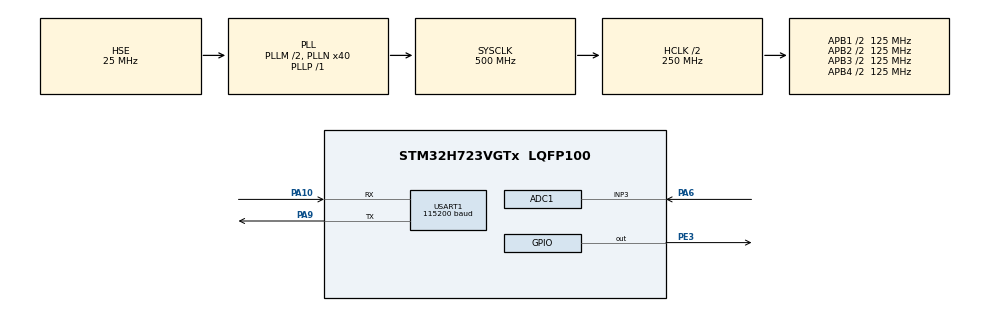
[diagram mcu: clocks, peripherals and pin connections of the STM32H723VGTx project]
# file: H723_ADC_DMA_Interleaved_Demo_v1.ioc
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ADC1.Channel-0\#ChannelRegularConversion=ADC_CHANNEL_3
ADC1.ClockPrescaler=ADC_CLOCK_ASYNC_DIV2
ADC1.ContinuousConvMode=DISABLE
ADC1.ConversionDataManagement=ADC_CONVERSIONDATA_DMA_CIRCULAR
ADC1.DMAAccessModeView=ENABLE
ADC1.ExternalTrigConv=ADC_EXTERNALTRIG_T6_TRGO
ADC1.ExternalTrigConvEdge=ADC_EXTERNALTRIGCONVEDGE_FALLING
ADC1.Mode=ADC_DUALMODE_INTERL
ADC1.NbrOfConversionFlag=1
ADC1.OffsetNumber-0\#ChannelRegularConversion=ADC_OFFSET_NONE
ADC1.OffsetSignedSaturation-0\#ChannelRegularConversion=DISABLE
ADC1.Rank-0\#ChannelRegularConversion=1
ADC1.SamplingTime-0\#ChannelRegularConversion=ADC_SAMPLETIME_2CYCLES_5
ADC1.TwoSamplingDelay=ADC_TWOSAMPLINGDELAY_2CYCLES
ADC1.master=1
ADC2.Channel-0\#ChannelRegularConversion=ADC_CHANNEL_3
ADC2.ClockPrescaler=ADC_CLOCK_ASYNC_DIV2
ADC2.DMAAccessModeView=ENABLE
ADC2.Mode=ADC_DUALMODE_INTERL
ADC2.NbrOfConversionFlag=1
ADC2.OffsetNumber-0\#ChannelRegularConversion=ADC_OFFSET_NONE
ADC2.OffsetSignedSaturation-0\#ChannelRegularConversion=DISABLE
ADC2.Rank-0\#ChannelRegularConversion=1
ADC2.SamplingTime-0\#ChannelRegularConversion=ADC_SAMPLETIME_1CYCLE_5
ADC2.TwoSamplingDelay=ADC_TWOSAMPLINGDELAY_2CYCLES
CORTEX_M7.CPU_DCache=Disabled
CORTEX_M7.CPU_ICache=Enabled
Dma.ADC1.0.Direction=DMA_PERIPH_TO_MEMORY
Dma.ADC1.0.EventEnable=DISABLE
Dma.ADC1.0.FIFOMode=DMA_FIFOMODE_DISABLE
Dma.ADC1.0.Instance=DMA1_Stream0
Dma.ADC1.0.MemDataAlignment=DMA_MDATAALIGN_WORD
Dma.ADC1.0.MemInc=DMA_MINC_ENABLE
Dma.ADC1.0.Mode=DMA_CIRCULAR
Dma.ADC1.0.PeriphDataAlignment=DMA_PDATAALIGN_WORD
Dma.ADC1.0.PeriphInc=DMA_PINC_DISABLE
Dma.ADC1.0.Polarity=HAL_DMAMUX_REQ_GEN_RISING
Dma.ADC1.0.Priority=DMA_PRIORITY_HIGH
Dma.ADC1.0.RequestNumber=1
Dma.ADC1.0.SignalID=NONE
Dma.ADC1.0.SyncEnable=DISABLE
Dma.ADC1.0.SyncPolarity=HAL_DMAMUX_SYNC_NO_EVENT
Dma.ADC1.0.SyncRequestNumber=1
Dma.ADC1.0.SyncSignalID=NONE
Dma.Request0=ADC1
Mcu.Family=STM32H7
Mcu.Name=STM32H723VGTx
Mcu.Package=LQFP100
NVIC.DMA1_Stream0_IRQn=true\:0\:0\:false\:false\:true\:false\:true\:true
NVIC.PriorityGroup=NVIC_PRIORITYGROUP_4
PA10.Mode=Asynchronous
PA10.Signal=USART1_RX
PA6.Signal=ADCx_INP3
PA9.Mode=Asynchronous
PA9.Signal=USART1_TX
PE3.GPIO_Speed=GPIO_SPEED_FREQ_HIGH
PE3.PinState=GPIO_PIN_RESET
PE3.Signal=GPIO_Output
PH0-OSC_IN.Mode=HSE-External-Oscillator
PH0-OSC_IN.Signal=RCC_OSC_IN
PH1-OSC_OUT.Mode=HSE-External-Oscillator
PH1-OSC_OUT.Signal=RCC_OSC_OUT
ProjectManager.HeapSize=0x200
ProjectManager.StackSize=0x400
ProjectManager.TargetToolchain=STM32CubeIDE
RCC.ADCCLockSelection=RCC_ADCCLKSOURCE_PLL3
RCC.ADCFreq_Value=38062667.84667969
RCC.APB1Freq_Value=125000000
RCC.APB2Freq_Value=125000000
RCC.APB3Freq_Value=125000000
RCC.APB4Freq_Value=125000000
RCC.CECCLockSelection=RCC_CECCLKSOURCE_LSI
RCC.CKPERSourceSelection=RCC_CLKPSOURCE_HSI
RCC.CSI_VALUE=4000000
RCC.CortexFreq_Value=500000000
RCC.Cortex_Div=SYSTICK_CLKSOURCE_HCLK
RCC.Cortex_DivARG=SystemCoreClock/1000
RCC.D1CPRE=RCC_SYSCLK_DIV1
RCC.D1PPRE=RCC_APB3_DIV2
RCC.D2PPRE1=RCC_APB1_DIV2
RCC.D2PPRE2=RCC_APB2_DIV2
RCC.D3PPRE=RCC_APB4_DIV2
RCC.DFSDMCLockSelection=RCC_DFSDM1CLKSOURCE_D2PCLK1
RCC.DIVM1=2
RCC.DIVM2=8
RCC.DIVM3=2
RCC.DIVN1=40
RCC.DIVN2=129
RCC.DIVN3=24
RCC.DIVP1=1
RCC.DIVP2=2
RCC.DIVP3=2
RCC.DIVQ1=2
RCC.DIVQ2=16
RCC.DIVR1=2
RCC.DIVR2=2
RCC.DIVR3=8
RCC.EXTERNAL_CLOCK_VALUE=12288000
RCC.EnbaleCSS=false
RCC.FDCANCLockSelection=RCC_FDCANCLKSOURCE_PLL
RCC.FMCCLockSelection=RCC_FMCCLKSOURCE_D1HCLK
RCC.HCLKFreq_Value=250000000
RCC.HPRE=RCC_HCLK_DIV2
RCC.HSE_VALUE=25000000
RCC.HSI48_VALUE=48000000
RCC.HSIDiv=RCC_PLLSAIDIVR_1
RCC.HSI_VALUE=64000000
RCC.I2C123CLockSelection=RCC_I2C1235CLKSOURCE_D2PCLK1
RCC.I2C4CLockSelection=RCC_I2C4CLKSOURCE_D3PCLK1
RCC.LPTIM1CLockSelection=RCC_LPTIM1CLKSOURCE_D2PCLK1
RCC.LPTIM2CLockSelection=RCC_LPTIM2CLKSOURCE_D3PCLK1
RCC.LPTIM345CLockSelection=RCC_LPTIM345CLKSOURCE_D3PCLK1
RCC.LPUART1CLockSelection=RCC_LPUART1CLKSOURCE_D3PCLK1
RCC.LSE_VALUE=32768
RCC.PLL2FRACN=0
RCC.PLL3FRACN=2950
RCC.PLL3_VCO_SEL-AdvancedSettings=RCC_PLL3VCOWIDE
RCC.PLLFRACN=0
RCC.PLLSourceVirtual=RCC_PLLSOURCE_HSE
RCC.QSPICLockSelection=RCC_OSPICLKSOURCE_D1HCLK
RCC.RCC_MCO1Source=RCC_MCO1SOURCE_HSI
RCC.RCC_MCO2Source=RCC_MCO2SOURCE_SYSCLK
RCC.RCC_MCODiv1=RCC_MCODIV_1
RCC.RCC_MCODiv2=RCC_MCODIV_1
RCC.RCC_RTC_Clock_Source_FROM_HSE=RCC_RTCCLKSOURCE_HSE_DIV2
RCC.RNGCLockSelection=RCC_RNGCLKSOURCE_HSI48
RCC.RTCEnable-ClockTree=true
RCC.SAI1CLockSelection=RCC_SAI1CLKSOURCE_PLL
RCC.SAI4ACLockSelection=RCC_SAI4ACLKSOURCE_PLL
RCC.SAI4BCLockSelection=RCC_SAI4BCLKSOURCE_PLL
RCC.SPDIFCLockSelection=RCC_SPDIFRXCLKSOURCE_PLL
RCC.SPI123CLockSelection=RCC_SPI123CLKSOURCE_PLL
RCC.SPI6CLockSelection=RCC_SPI6CLKSOURCE_D3PCLK1
RCC.SWPCLockSelection=RCC_SWPMI1CLKSOURCE_D2PCLK1
RCC.SYSCLKFreq_VALUE=500000000
RCC.SYSCLKSource=RCC_SYSCLKSOURCE_PLLCLK
RCC.Spi45ClockSelection=RCC_SPI45CLKSOURCE_D2PCLK1
RCC.USART16CLockSelection=RCC_USART16910CLKSOURCE_PLL2
RCC.USART234578CLockSelection=RCC_USART234578CLKSOURCE_D2PCLK1
RCC.USBCLockSelection=RCC_USBCLKSOURCE_PLL
RCC.USBFreq_Value=250000000
SH.ADCx_INP3.0=ADC1_INP3,IN3-Single-Ended
SH.ADCx_INP3.1=ADC2_INP3,IN3-Single-Ended
TIM6.AutoReloadPreload=TIM_AUTORELOAD_PRELOAD_ENABLE
TIM6.Period=250
TIM6.Prescaler=0
TIM6.TIM_MasterOutputTrigger=TIM_TRGO_UPDATE
USART1.BaudRate=115200
USART1.ClockPrescaler=PRESCALER_DIV4
USART1.VirtualMode-Asynchronous=VM_ASYNC
VP_TIM6_VS_ClockSourceINT.Mode=Enable_Timer
board=custom

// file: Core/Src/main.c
/* USER CODE BEGIN Header */
/**
  ******************************************************************************
  * @file           : main.c
  * @brief          : Main program body
  ******************************************************************************
  * @attention
  *
  * Copyright (c) 2023 STMicroelectronics.
  * All rights reserved.
  *
  * This software is licensed under terms that can be found in the LICENSE file
  * in the root directory of this software component.
  * If no LICENSE file comes with this software, it is provided AS-IS.
  *
  ******************************************************************************
  *
  *
  * STM32H723 ADC Interleaved DMA Demo v1.0
  *
  * This code uses ADC 1 and 2 in interleaved mode, focusing on the fast ADC channels for optimal performance.
  * The STM32H723 microcontroller features both fast and slow ADC channels. In this example, we use the fast channels
  * for better performance.
  *
  * We will use the following modules and pins:
  * - ADC1: pin ADC1_INP3 PA6
  * - ADC2: pin ADC2_INP3 PA6
  * - TIM6
  * - DMA
  * - UART1: pins PA9 and PA10
  *
  * According to Table 12 in the reference manual, "Maximum ADC frequency versus package type (VREF=VDDA=3 V, T=25°C)":
  * - In this case, with an LQFP100 package, 16-bit resolution, and two ADCs, the maximum recommended frequency is 19 MHz.
  * - The ADC clock is set to 38 MHz via the PLL, with an ADC prescaler of 2, resulting in the ADC running at 19 MHz.
  *
  * Note: I've tested ADC at higher clocks and seems pretty stable, so maybe there is lots of headroom.
  *
  *
  * The fast channels for STM32H723 ADC12 (ADC12 = ADC1 + ADC2) are:
  * - ADC12_INP0 PC2_C
  * - ADC12_INP1 PC3_C
  * - ADC12_INP3 PA6
  * - ADC12_INP4 PC4
  * - ADC12_INP5 PB1
  *
  * There are more options possible, for more detailed information on channel coupling and connectivity, please refer to the STM32H723 reference manual.
  * RM0433 Page 920
  * Figure 162 illustrates the connectivity of ADC1 and ADC2.
  *
  * Note: Other H7 microcontrollers may have different channel configurations, and there are slow channels that support
  * interleaved mode as well.
  *
  *
  * Timer 6 triggers the ADC conversions, running at 1 MHz:
  * - AHB4 peripheral = 250 MHz
  * - Prescaler = 0
  * - Counter Period = 250
  * - Calculation: 250,000,000 Hz / 250 = 1,000,000 Hz
  *
  * According to the STM32H723 documentation, H7 ADC conversion time is calculated differently:
  * - tconversion = tsampling + N/2 + 0.5
  * - tsampling = 2.5 (sampling time in cycles)
  * - ADC bits = 16-bit
  * - Calculation: 2.5 + 16/2 + 0.5 = 11 clock cycles
  * - but we use interleaved, with 2.5 delay between second sampling, so we get final 13.5 as final
  *
  * With an 18MHz ADC clock and a conversion time of 13.5, the maximum dual interleaved sampling rate is approximately 1.33 MSPS.
  * We trigger the ADC conversion with timer 6, which runs at 1 MHz. The ADC samples at rate of 1.33 MHz to ensure it's ready when the next timer trigger occurs.
  *
  * You can find the maximum sampling speed in application note AN5354, section 4.2 Dual ADC operation.
  */

/* USER CODE END Header */
#include "main.h"

/* USER CODE BEGIN Includes */
#include "stdint.h"
#include <stdio.h>
/* USER CODE END Includes */

ADC_HandleTypeDef hadc1;
ADC_HandleTypeDef hadc2;
DMA_HandleTypeDef hdma_adc1;

TIM_HandleTypeDef htim6;

UART_HandleTypeDef huart1;

void SystemClock_Config(void);
void PeriphCommonClock_Config(void);
static void MX_GPIO_Init(void);
static void MX_DMA_Init(void);
static void MX_USART1_UART_Init(void);
static void MX_ADC1_Init(void);
static void MX_TIM6_Init(void);
static void MX_ADC2_Init(void);
/* USER CODE BEGIN PFP */
#define PUTCHAR_PROTOTYPE int __io_putchar(int ch)
/* USER CODE END PFP */

/* USER CODE BEGIN 0 */
#define buffer_size 64			// Number of ADC samples
uint32_t ADC_buf[buffer_size]; 	// ADC result buffer
/* USER CODE END 0 */

int main(void)
{

  /* Enable the CPU Cache */

  /* Enable I-Cache---------------------------------------------------------*/
  SCB_EnableICache();

  /* MCU Configuration--------------------------------------------------------*/

  /* Reset of all peripherals, Initializes the Flash interface and the Systick. */
  HAL_Init();

  /* Configure the system clock */
  SystemClock_Config();

/* Configure the peripherals common clocks */
  PeriphCommonClock_Config();

  /* Initialize all configured peripherals */
  MX_GPIO_Init();
  MX_DMA_Init();
  MX_USART1_UART_Init();
  MX_ADC1_Init();
  MX_TIM6_Init();
  MX_ADC2_Init();
  /* USER CODE BEGIN 2 */

  printf("STM32H723 ADC interleaved DMA Demo v1.0 \n");

  // The STM32H7 embeds a linearity calibration engine to enhance the ADC linearity. It allows compensation of
  // capacitance mismatch during production.

  // Calibrate ADC1 with linearity offset in single-ended mode
  if (HAL_ADCEx_Calibration_Start(&hadc1, ADC_CALIB_OFFSET_LINEARITY, ADC_SINGLE_ENDED) != HAL_OK) {
      Error_Handler(); // Handle calibration error for ADC1
  }

  // Calibrate ADC2 with linearity offset in single-ended mode
  if (HAL_ADCEx_Calibration_Start(&hadc2, ADC_CALIB_OFFSET_LINEARITY, ADC_SINGLE_ENDED) != HAL_OK) {
      Error_Handler(); // Handle calibration error for ADC2
  }

  // Start the multi-mode ADC DMA transfer for ADC1
  if (HAL_ADCEx_MultiModeStart_DMA(&hadc1, (uint32_t *)&ADC_buf, buffer_size) != HAL_OK) {
      printf("ADC MM DMA Error \n"); // Print error message for ADC multi-mode DMA start failure
      Error_Handler(); // Handle DMA start error for multi-mode ADC
  }

  // Start the base timer that triggers the ADC conversions
  if (HAL_TIM_Base_Start(&htim6) != HAL_OK) {
      Error_Handler(); // Handle timer start error
  }

  /* USER CODE END 2 */

  /* Infinite loop */
  /* USER CODE BEGIN WHILE */
  while (1) {

	// Wait for the DMA transfer to complete
	// Note: This can be replaced with a flag system to prevent blocking the main loop.
	// For simplicity, a busy-wait loop is used here for demonstration purposes.
	while(HAL_DMA_GetState(&hdma_adc1) != (HAL_DMA_StateTypeDef)HAL_DMA_STATE_READY) {
		__NOP(); // No Operation: wait here
	}

	// Print the results that are stored in the 32-bit DMA buffer, ADC_buf.
	// The interleaved values are arranged such that each 32-bit variable holds two ADC results,
	// with the lower 16 bits containing the first ADC result and the upper 16 bits containing the second ADC result.
	for(int i = 0; i < buffer_size; i++) {
		if(i % 8 == 0) {
			printf("\n"); // New line for every 8 values for better readability
		}
		printf("%05i ", (uint16_t)ADC_buf[i]);        	// Print 16bit ADC result 1
		printf("%05i ", (uint16_t)(ADC_buf[i] >> 16)); 	// Print 16bit ADC result 2
	}
	printf("\n");

	// Restart the DMA multi-mode transfer for the next set of readings
	if(HAL_ADCEx_MultiModeStart_DMA(&hadc1, (uint32_t *)&ADC_buf, buffer_size) != HAL_OK) {
		printf("ADC MM DMA Error \n"); // Print error message for ADC multi-mode DMA start failure
		Error_Handler(); // Handle DMA start error for multi-mode ADC
	}

	// Toggle the LED to indicate the code is running. And some delay.
	HAL_GPIO_TogglePin(GPIOE, GPIO_PIN_3); 	// Toggle LED connected to GPIO pin
	HAL_Delay(1000); 						// Delay for 1000 ms (1 second)

    /* USER CODE END WHILE */

  }
}

void SystemClock_Config(void)
{
  RCC_OscInitTypeDef RCC_OscInitStruct = {0};
  RCC_ClkInitTypeDef RCC_ClkInitStruct = {0};

  /** Supply configuration update enable
  */
  HAL_PWREx_ConfigSupply(PWR_LDO_SUPPLY);

  /** Configure the main internal regulator output voltage
  */
  __HAL_PWR_VOLTAGESCALING_CONFIG(PWR_REGULATOR_VOLTAGE_SCALE0);

  while(!__HAL_PWR_GET_FLAG(PWR_FLAG_VOSRDY)) {}

  /** Initializes the RCC Oscillators according to the specified parameters
  * in the RCC_OscInitTypeDef structure.
  */
  RCC_OscInitStruct.OscillatorType = RCC_OSCILLATORTYPE_HSE;
  RCC_OscInitStruct.HSEState = RCC_HSE_ON;
  RCC_OscInitStruct.PLL.PLLState = RCC_PLL_ON;
  RCC_OscInitStruct.PLL.PLLSource = RCC_PLLSOURCE_HSE;
  RCC_OscInitStruct.PLL.PLLM = 2;
  RCC_OscInitStruct.PLL.PLLN = 40;
  RCC_OscInitStruct.PLL.PLLP = 1;
  RCC_OscInitStruct.PLL.PLLQ = 2;
  RCC_OscInitStruct.PLL.PLLR = 2;
  RCC_OscInitStruct.PLL.PLLRGE = RCC_PLL1VCIRANGE_3;
  RCC_OscInitStruct.PLL.PLLVCOSEL = RCC_PLL1VCOWIDE;
  RCC_OscInitStruct.PLL.PLLFRACN = 0;
  if (HAL_RCC_OscConfig(&RCC_OscInitStruct) != HAL_OK)
  {
    Error_Handler();
  }

  /** Initializes the CPU, AHB and APB buses clocks
  */
  RCC_ClkInitStruct.ClockType = RCC_CLOCKTYPE_HCLK|RCC_CLOCKTYPE_SYSCLK
                              |RCC_CLOCKTYPE_PCLK1|RCC_CLOCKTYPE_PCLK2
                              |RCC_CLOCKTYPE_D3PCLK1|RCC_CLOCKTYPE_D1PCLK1;
  RCC_ClkInitStruct.SYSCLKSource = RCC_SYSCLKSOURCE_PLLCLK;
  RCC_ClkInitStruct.SYSCLKDivider = RCC_SYSCLK_DIV1;
  RCC_ClkInitStruct.AHBCLKDivider = RCC_HCLK_DIV2;
  RCC_ClkInitStruct.APB3CLKDivider = RCC_APB3_DIV2;
  RCC_ClkInitStruct.APB1CLKDivider = RCC_APB1_DIV2;
  RCC_ClkInitStruct.APB2CLKDivider = RCC_APB2_DIV2;
  RCC_ClkInitStruct.APB4CLKDivider = RCC_APB4_DIV2;

  if (HAL_RCC_ClockConfig(&RCC_ClkInitStruct, FLASH_LATENCY_3) != HAL_OK)
  {
    Error_Handler();
  }
}

void PeriphCommonClock_Config(void)
{
  RCC_PeriphCLKInitTypeDef PeriphClkInitStruct = {0};

  /** Initializes the peripherals clock
  */
  PeriphClkInitStruct.PeriphClockSelection = RCC_PERIPHCLK_ADC;
  PeriphClkInitStruct.PLL3.PLL3M = 2;
  PeriphClkInitStruct.PLL3.PLL3N = 24;
  PeriphClkInitStruct.PLL3.PLL3P = 2;
  PeriphClkInitStruct.PLL3.PLL3Q = 2;
  PeriphClkInitStruct.PLL3.PLL3R = 8;
  PeriphClkInitStruct.PLL3.PLL3RGE = RCC_PLL3VCIRANGE_3;
  PeriphClkInitStruct.PLL3.PLL3VCOSEL = RCC_PLL3VCOWIDE;
  PeriphClkInitStruct.PLL3.PLL3FRACN = 2950;
  PeriphClkInitStruct.AdcClockSelection = RCC_ADCCLKSOURCE_PLL3;
  if (HAL_RCCEx_PeriphCLKConfig(&PeriphClkInitStruct) != HAL_OK)
  {
    Error_Handler();
  }
}

static void MX_ADC1_Init(void)
{

  ADC_MultiModeTypeDef multimode = {0};
  ADC_ChannelConfTypeDef sConfig = {0};

  /** Common config
  */
  hadc1.Instance = ADC1;
  hadc1.Init.ClockPrescaler = ADC_CLOCK_ASYNC_DIV2;
  hadc1.Init.Resolution = ADC_RESOLUTION_16B;
  hadc1.Init.ScanConvMode = ADC_SCAN_DISABLE;
  hadc1.Init.EOCSelection = ADC_EOC_SINGLE_CONV;
  hadc1.Init.LowPowerAutoWait = DISABLE;
  hadc1.Init.ContinuousConvMode = DISABLE;
  hadc1.Init.NbrOfConversion = 1;
  hadc1.Init.DiscontinuousConvMode = DISABLE;
  hadc1.Init.ExternalTrigConv = ADC_EXTERNALTRIG_T6_TRGO;
  hadc1.Init.ExternalTrigConvEdge = ADC_EXTERNALTRIGCONVEDGE_FALLING;
  hadc1.Init.ConversionDataManagement = ADC_CONVERSIONDATA_DMA_CIRCULAR;
  hadc1.Init.Overrun = ADC_OVR_DATA_PRESERVED;
  hadc1.Init.LeftBitShift = ADC_LEFTBITSHIFT_NONE;
  hadc1.Init.OversamplingMode = DISABLE;
  if (HAL_ADC_Init(&hadc1) != HAL_OK)
  {
    Error_Handler();
  }

  /** Configure the ADC multi-mode
  */
  multimode.Mode = ADC_DUALMODE_INTERL;
  multimode.DualModeData = ADC_DUALMODEDATAFORMAT_32_10_BITS;
  multimode.TwoSamplingDelay = ADC_TWOSAMPLINGDELAY_2CYCLES;
  if (HAL_ADCEx_MultiModeConfigChannel(&hadc1, &multimode) != HAL_OK)
  {
    Error_Handler();
  }

  /** Configure Regular Channel
  */
  sConfig.Channel = ADC_CHANNEL_3;
  sConfig.Rank = ADC_REGULAR_RANK_1;
  sConfig.SamplingTime = ADC_SAMPLETIME_2CYCLES_5;
  sConfig.SingleDiff = ADC_SINGLE_ENDED;
  sConfig.OffsetNumber = ADC_OFFSET_NONE;
  sConfig.Offset = 0;
  sConfig.OffsetSignedSaturation = DISABLE;
  if (HAL_ADC_ConfigChannel(&hadc1, &sConfig) != HAL_OK)
  {
    Error_Handler();
  }

}

static void MX_ADC2_Init(void)
{

  ADC_ChannelConfTypeDef sConfig = {0};

  /** Common config
  */
  hadc2.Instance = ADC2;
  hadc2.Init.ClockPrescaler = ADC_CLOCK_ASYNC_DIV2;
  hadc2.Init.Resolution = ADC_RESOLUTION_16B;
  hadc2.Init.ScanConvMode = ADC_SCAN_DISABLE;
  hadc2.Init.EOCSelection = ADC_EOC_SINGLE_CONV;
  hadc2.Init.LowPowerAutoWait = DISABLE;
  hadc2.Init.ContinuousConvMode = DISABLE;
  hadc2.Init.NbrOfConversion = 1;
  hadc2.Init.DiscontinuousConvMode = DISABLE;
  hadc2.Init.ConversionDataManagement = ADC_CONVERSIONDATA_DR;
  hadc2.Init.Overrun = ADC_OVR_DATA_PRESERVED;
  hadc2.Init.LeftBitShift = ADC_LEFTBITSHIFT_NONE;
  hadc2.Init.OversamplingMode = DISABLE;
  if (HAL_ADC_Init(&hadc2) != HAL_OK)
  {
    Error_Handler();
  }

  /** Configure Regular Channel
  */
  sConfig.Channel = ADC_CHANNEL_3;
  sConfig.Rank = ADC_REGULAR_RANK_1;
  sConfig.SamplingTime = ADC_SAMPLETIME_1CYCLE_5;
  sConfig.SingleDiff = ADC_SINGLE_ENDED;
  sConfig.OffsetNumber = ADC_OFFSET_NONE;
  sConfig.Offset = 0;
  sConfig.OffsetSignedSaturation = DISABLE;
  if (HAL_ADC_ConfigChannel(&hadc2, &sConfig) != HAL_OK)
  {
    Error_Handler();
  }

}

static void MX_TIM6_Init(void)
{

  TIM_MasterConfigTypeDef sMasterConfig = {0};

  htim6.Instance = TIM6;
  htim6.Init.Prescaler = 0;
  htim6.Init.CounterMode = TIM_COUNTERMODE_UP;
  htim6.Init.Period = 250;
  htim6.Init.AutoReloadPreload = TIM_AUTORELOAD_PRELOAD_ENABLE;
  if (HAL_TIM_Base_Init(&htim6) != HAL_OK)
  {
    Error_Handler();
  }
  sMasterConfig.MasterOutputTrigger = TIM_TRGO_UPDATE;
  sMasterConfig.MasterSlaveMode = TIM_MASTERSLAVEMODE_DISABLE;
  if (HAL_TIMEx_MasterConfigSynchronization(&htim6, &sMasterConfig) != HAL_OK)
  {
    Error_Handler();
  }

}

static void MX_USART1_UART_Init(void)
{

  huart1.Instance = USART1;
  huart1.Init.BaudRate = 115200;
  huart1.Init.WordLength = UART_WORDLENGTH_8B;
  huart1.Init.StopBits = UART_STOPBITS_1;
  huart1.Init.Parity = UART_PARITY_NONE;
  huart1.Init.Mode = UART_MODE_TX_RX;
  huart1.Init.HwFlowCtl = UART_HWCONTROL_NONE;
  huart1.Init.OverSampling = UART_OVERSAMPLING_16;
  huart1.Init.OneBitSampling = UART_ONE_BIT_SAMPLE_DISABLE;
  huart1.Init.ClockPrescaler = UART_PRESCALER_DIV4;
  huart1.AdvancedInit.AdvFeatureInit = UART_ADVFEATURE_NO_INIT;
  if (HAL_UART_Init(&huart1) != HAL_OK)
  {
    Error_Handler();
  }
  if (HAL_UARTEx_SetTxFifoThreshold(&huart1, UART_TXFIFO_THRESHOLD_1_8) != HAL_OK)
  {
    Error_Handler();
  }
  if (HAL_UARTEx_SetRxFifoThreshold(&huart1, UART_RXFIFO_THRESHOLD_1_8) != HAL_OK)
  {
    Error_Handler();
  }
  if (HAL_UARTEx_DisableFifoMode(&huart1) != HAL_OK)
  {
    Error_Handler();
  }

}

static void MX_DMA_Init(void)
{

  /* DMA controller clock enable */
  __HAL_RCC_DMA1_CLK_ENABLE();

  /* DMA interrupt init */
  /* DMA1_Stream0_IRQn interrupt configuration */
  HAL_NVIC_SetPriority(DMA1_Stream0_IRQn, 0, 0);
  HAL_NVIC_EnableIRQ(DMA1_Stream0_IRQn);

}

static void MX_GPIO_Init(void)
{
  GPIO_InitTypeDef GPIO_InitStruct = {0};

  /* GPIO Ports Clock Enable */
  __HAL_RCC_GPIOE_CLK_ENABLE();
  __HAL_RCC_GPIOH_CLK_ENABLE();
  __HAL_RCC_GPIOA_CLK_ENABLE();

  /*Configure GPIO pin Output Level */
  HAL_GPIO_WritePin(GPIOE, GPIO_PIN_3, GPIO_PIN_RESET);

  /*Configure GPIO pin : PE3 */
  GPIO_InitStruct.Pin = GPIO_PIN_3;
  GPIO_InitStruct.Mode = GPIO_MODE_OUTPUT_PP;
  GPIO_InitStruct.Pull = GPIO_NOPULL;
  GPIO_InitStruct.Speed = GPIO_SPEED_FREQ_HIGH;
  HAL_GPIO_Init(GPIOE, &GPIO_InitStruct);

}

/* USER CODE BEGIN 4 */
void HAL_ADC_ConvCpltCallback(ADC_HandleTypeDef *hadc){
	HAL_ADCEx_MultiModeStop_DMA(&hadc1); // We stop the DMA transfer so we can compute the data that we received in the adc_buf[] buffer
}

// prototype for the printf and simular functions
PUTCHAR_PROTOTYPE{
  HAL_UART_Transmit(&huart1, (uint8_t *)&ch, 1, 0xFFFF);
  return ch;
}
/* USER CODE END 4 */

void Error_Handler(void)
{
  __disable_irq();
  while (1)
  {
  }
}
